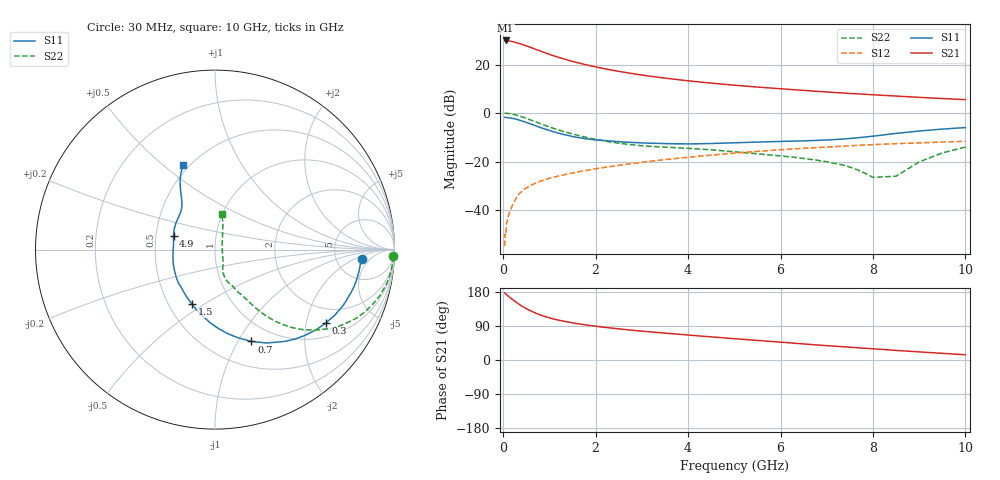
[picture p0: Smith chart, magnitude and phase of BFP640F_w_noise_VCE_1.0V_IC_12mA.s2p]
! Infineon Technologies  Discrete & RF Semiconductors
! BFP640F
! VCE =  1.0 V,  IC =  12 mA
! Common Emitter S-Parameters:  Apr 2013
# GHz  S  MA  R  50
!  f  S11  S21  S12  S22
! GHz  MAG  ANG  MAG  ANG  MAG  ANG  MAG  ANG
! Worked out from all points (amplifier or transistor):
!   99 points, 30 MHz to 10 GHz, reference 50 ohm
!   highest |S21| = 30.0 dB at 50 MHz (marker M1)
!   |S21| within 3 dB of that: start of sweep to 610 MHz
!   unconditionally stable (mu >= 1): 2.955 GHz to end of sweep
!   at 350 MHz: K = 0.24, MSG = 31.0 dB, |S12| = -33.2 dB
!   at 3.5 GHz: K = 1.02, MAG = 15.9 dB, |S12| = -19.2 dB
!   at 10 GHz: K = 1.06, MAG = 7.1 dB, |S12| = -11.6 dB
!   lowest NFmin = 0.68 dB at 450 MHz
!   S11 on the Smith chart (normalised r, x): 30 MHz: 9.17, -2.88; 300 MHz: 1.43, -2.60; 700 MHz: 0.78, -1.14; 1.5 GHz: 0.65, -0.45; 4.9 GHz: 0.62, +0.10; 10 GHz: 0.46, +0.59
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0.03  0.8196 -3.6  31.22 177.1  0.0018 76.0  0.9932 -2.2
0.05  0.8137 -5.9  31.62 175.0  0.003 95.4  0.992 -3.8
0.13  0.8007 -15.3  30.88 166.4  0.0084 86.1  0.9772 -10.4
0.2  0.7802 -23.2  30 159.6  0.0126 79.0  0.9527 -15.8
0.3  0.7402 -33.7  28.3 150.7  0.019 74.7  0.9016 -22.9
0.4  0.6923 -43.7  26.48 142.5  0.024 71.9  0.8408 -29.0
0.5  0.6436 -52.6  24.49 135.5  0.0285 68.3  0.78 -34.3
0.6  0.5956 -60.9  22.57 129.3  0.0325 65.6  0.7178 -38.7
0.7  0.5504 -68.4  20.77 123.9  0.0361 64.3  0.6612 -42.4
0.8  0.5064 -75.6  19.18 118.9  0.0394 62.6  0.6097 -45.4
0.9  0.4716 -81.8  17.69 114.9  0.0422 61.5  0.5616 -47.9
1.1  0.4107 -93.3  15.19 108.0  0.0478 60.0  0.4817 -51.7
1.3  0.364 -103.5  13.24 102.6  0.0532 59.0  0.4201 -54.2
1.5  0.33 -112.7  11.69 98.1  0.0582 58.7  0.3712 -56.0
1.7  0.3056 -121.4  10.45 94.2  0.0635 58.1  0.3322 -57.5
2.4  0.2623 -146.5  7.574 83.5  0.0813 56.7  0.2472 -62.8
3.4  0.237 -171.9  5.43 72.0  0.1074 54.0  0.2006 -67.5
4.9  0.2426 162.1  3.852 57.2  0.147 47.6  0.1624 -70.7
5.1  0.2461 159.3  3.711 55.4  0.1522 46.6  0.1567 -71.0
6.7  0.2722 138.2  2.86 40.5  0.1924 37.9  0.1096 -66.7
8.5  0.3819 120.2  2.254 25.3  0.2345 27.3  0.05 37.2
10  0.5042 110.6  1.899 13.8  0.2627 18.7  0.1999 78.9
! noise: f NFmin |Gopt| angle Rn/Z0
0.45  0.68  0.14  8  0.05
0.9  0.68  0.15  19  0.06
1.5  0.69  0.14  28  0.07
1.9  0.7  0.12  43  0.07
2.4  0.73  0.11  55  0.08
3.5  0.82  0.09  90  0.09
5.5  1.01  0.13  -164  0.12
10  1.55  0.4  -95  0.34
